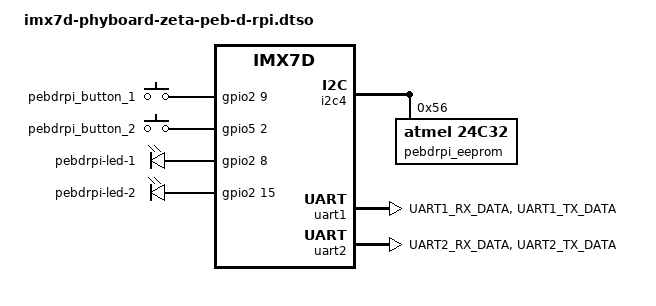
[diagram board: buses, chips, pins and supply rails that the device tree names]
// SPDX-License-Identifier: GPL-2.0-or-later
/* Copyright (C) 2018-2023 PHYTEC America, LLC */

/dts-v1/;
/plugin/;

#include <dt-bindings/gpio/gpio.h>
#include <dt-bindings/clock/imx7d-clock.h>
#include "../imx7d-pinfunc.h"

/ {
	compatible = "phytec,imx7-phyboard-zeta-kit",
		     "phytec,imx7-phycore-som",
		     "fsl,imx7d";
};

&{/} {
	pebdrpi_buttons: pebdrpi-btns {
		compatible = "gpio-keys";
		pinctrl-names = "default";
		pinctrl-0 = <&pinctrl_pebdrpi_btns>;

		userbtn@0 {
			label = "pebdrpi_button_1";
			gpios = <&gpio2 9 GPIO_ACTIVE_HIGH>;
			linux,code = <0x100>;	/* BTN_MISC */
		};

		userbtn@1 {
			label = "pebdrpi_button_2";
			gpios = <&gpio5 2 GPIO_ACTIVE_HIGH>;
			linux,code = <0x100>;	/* BTN_MISC */
		};
	};

	pebdrpi_leds: pebdrpi-leds {
		compatible = "gpio-leds";
		pinctrl-names = "default";
		pinctrl-0 = <&pinctrl_pebdrpi_leds>;

		pebdrpi-led-1 {
			gpios = <&gpio2 8 GPIO_ACTIVE_HIGH>;
			linux,default-trigger = "gpio";
			default-state = "on";
		};

		pebdrpi-led-2 {
			gpios = <&gpio2 15 GPIO_ACTIVE_HIGH>;
			linux,default-trigger = "gpio";
			default-state = "on";
		};
	};
};

&i2c4 {
	status = "okay";

	pebdrpi_eeprom: eeprom@56 {
		compatible = "atmel,24c32";
		reg = <0x56>;
		pagesize = <32>;
	};
};

&uart1 {
	pinctrl-names = "default";
	pinctrl-0 = <&pinctrl_uart1>;
	assigned-clocks = <&clks IMX7D_UART1_ROOT_SRC>;
	assigned-clock-parents = <&clks IMX7D_OSC_24M_CLK>;
	status = "okay";
};

&uart2 {
	pinctrl-names = "default";
	pinctrl-0 = <&pinctrl_uart2>;
	assigned-clocks = <&clks IMX7D_UART2_ROOT_SRC>;
	assigned-clock-parents = <&clks IMX7D_OSC_24M_CLK>;
	status = "okay";
};

&iomuxc {
	pinctrl_pebdrpi_btns: pebdrpi-btnsgrp {
		fsl,pins = <
			MX7D_PAD_EPDC_DATA09__GPIO2_IO9		0x79
			MX7D_PAD_SD1_RESET_B__GPIO5_IO2		0x79
		>;
	};

	pinctrl_pebdrpi_leds: pebdrpi-ledsgrp {
		fsl,pins = <
			MX7D_PAD_EPDC_DATA08__GPIO2_IO8		0x79
			MX7D_PAD_EPDC_DATA15__GPIO2_IO15	0x79
		>;
	};

	pinctrl_uart1: uart1grp {
		fsl,pins = <
			MX7D_PAD_UART1_RX_DATA__UART1_DCE_RX	0x7e
			MX7D_PAD_UART1_TX_DATA__UART1_DCE_TX	0x7e
		>;
	};

	pinctrl_uart2: uart2grp {
		fsl,pins = <
			MX7D_PAD_UART2_RX_DATA__UART2_DCE_RX	0x7e
			MX7D_PAD_UART2_TX_DATA__UART2_DCE_TX	0x7e
		>;
	};
};
